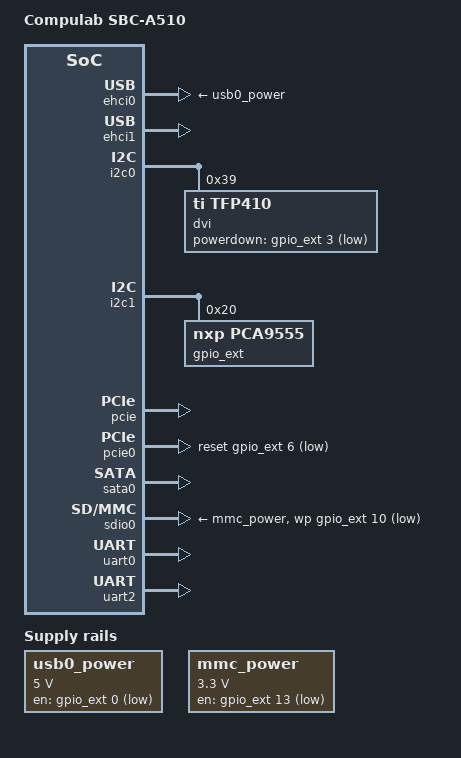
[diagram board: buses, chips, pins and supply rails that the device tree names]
/*
 * Device Tree file for Compulab SBC-A510 Single Board Computer
 *
 * Copyright (C) 2015, Sebastian Hesselbarth <sebastian.hesselbarth@gmail.com>
 *
 * This file is dual-licensed: you can use it either under the terms
 * of the GPL or the X11 license, at your option. Note that this dual
 * licensing only applies to this file, and not this project as a
 * whole.
 *
 *  a) This file is free software; you can redistribute it and/or
 *     modify it under the terms of the GNU General Public License as
 *     published by the Free Software Foundation; version 2 of the
 *     License.
 *
 *     This file is distributed in the hope that it will be useful,
 *     but WITHOUT ANY WARRANTY; without even the implied warranty of
 *     MERCHANTABILITY or FITNESS FOR A PARTICULAR PURPOSE.  See the
 *     GNU General Public License for more details.
 *
 * Or, alternatively,
 *
 *  b) Permission is hereby granted, free of charge, to any person
 *     obtaining a copy of this software and associated documentation
 *     files (the "Software"), to deal in the Software without
 *     restriction, including without limitation the rights to use,
 *     copy, modify, merge, publish, distribute, sublicense, and/or
 *     sell copies of the Software, and to permit persons to whom the
 *     Software is furnished to do so, subject to the following
 *     conditions:
 *
 *     The above copyright notice and this permission notice shall be
 *     included in all copies or substantial portions of the Software.
 *
 *     THE SOFTWARE IS PROVIDED "AS IS", WITHOUT WARRANTY OF ANY KIND,
 *     EXPRESS OR IMPLIED, INCLUDING BUT NOT LIMITED TO THE WARRANTIES
 *     OF MERCHANTABILITY, FITNESS FOR A PARTICULAR PURPOSE AND
 *     NONINFRINGEMENT. IN NO EVENT SHALL THE AUTHORS OR COPYRIGHT
 *     HOLDERS BE LIABLE FOR ANY CLAIM, DAMAGES OR OTHER LIABILITY,
 *     WHETHER IN AN ACTION OF CONTRACT, TORT OR OTHERWISE, ARISING
 *     FROM, OUT OF OR IN CONNECTION WITH THE SOFTWARE OR THE USE OR
 *     OTHER DEALINGS IN THE SOFTWARE.
 */

/*
 * SBC-A510 comprises a PCA9555 I2C GPIO expander its GPIO lines connected to
 *
 * 0.0 USB0 VBUS_EN (active high)
 * 0.1 USB0 VBUS_GOOD
 * 0.2 DVI transmitter TI TFP410 MSEN
 * 0.3 DVI transmitter TI TFP410 PD# (active low power down)
 * 0.4 LVDS transmitter DS90C365 PD# (active low power down)
 * 0.5 LCD nRST (active low reset)
 * 0.6 PCIe0 nRST (active low reset)
 * 0.7 mini-PCIe slot W_DISABLE#
 *
 * 1.0 MMC WP
 * 1.1 Camera Input FPC FLASH_STB and P21.5
 * 1.2 Camera Input FPC WE        and P21.22
 * 1.3 MMC VCC_EN (active high)   and P21.7
 * 1.4 Camera Input FPC AFTR_RST  and P21.17
 * 1.5 Camera Input FPC OE        and P21.19
 * 1.6 Camera Input FPC SNPSHT    and P21.6
 * 1.7 Camera Input FPC SHTR      and P21.10
 */

/dts-v1/;

#include "dove-cm-a510.dtsi"

/ {
	model = "Compulab SBC-A510";
	compatible = "compulab,sbc-a510", "compulab,cm-a510", "marvell,dove";

	chosen {
		stdout-path = &uart0;
	};

	usb0_power: regulator-2 {
		compatible = "regulator-fixed";
		regulator-name = "USB Power";
		regulator-min-microvolt = <5000000>;
		regulator-max-microvolt = <5000000>;
		gpio = <&gpio_ext 0 GPIO_ACTIVE_HIGH>;
	};

	mmc_power: regulator-3 {
		compatible = "regulator-fixed";
		regulator-name = "MMC Power";
		regulator-min-microvolt = <3300000>;
		regulator-max-microvolt = <3300000>;
		gpio = <&gpio_ext 13 GPIO_ACTIVE_HIGH>;
	};
};

/* Ethernet0 depends on CM-A510 option E1 */
&mdio { status = "disabled"; };
&eth { status = "disabled"; };
&ethphy { status = "disabled"; };

/*
 * USB port 0 can be powered and monitored by I2C GPIO expander:
 *  VBUS_ENABLE on GPIO0, VBUS_GOOD on GPIO1
 */
&ehci0 {
	status = "okay";
	vbus-supply = <&usb0_power>;
};

/* USB port 1 (and ports 2, 3 if CM-A510 has U4 option) */
&ehci1 { status = "okay"; };

/*
 * I2C bus layout:
 * i2c0:
 *  - Audio Codec, 0x1a (option from CM-A510)
 *  - DVI transmitter TI TFP410, 0x39
 *  - HDMI/DVI DDC channel
 * i2c1:
 *  - GPIO expander, NXP PCA9555, 0x20
 *  - VGA DDC channel
 */
&i2c {
	pinctrl-0 = <&pmx_i2c1>;
	pinctrl-names = "default";
};

&i2c0 {
	/* TI TFP410 DVI transmitter */
	dvi: video@39 {
		compatible = "ti,tfp410";
		reg = <0x39>;
		powerdown-gpio = <&gpio_ext 3 GPIO_ACTIVE_LOW>;
	};
};

&i2c1 {
	status = "okay";

	/* NXP PCA9555 GPIO expander */
	gpio_ext: gpio@20 {
		compatible = "nxp,pca9555";
		reg = <0x20>;
		gpio-controller;
		#gpio-cells = <2>;
	};
};

&pcie { status = "okay"; };

/*
 * PCIe0 can be configured by Jumper E1 to be either connected to
 * a mini-PCIe slot or a Pericom PI7C9X111 PCIe-to-PCI bridge.
 */
&pcie0 {
	status = "okay";
	pinctrl-0 = <&pmx_pcie0_clkreq>;
	pinctrl-names = "default";
	reset-gpios = <&gpio_ext 6 GPIO_ACTIVE_LOW>;
};

/* Ethernet1 depends on CM-A510 option E2 */
&pcie1 { status = "disabled"; };

/* SATA connector */
&sata0 { status = "okay"; };

/*
 * SDIO0 is connected to a MMC/SD/SDIO socket, I2C GPIO expander has
 *  VCC_MMC_ENABLE on GPIO13, MMC_WP on GPIO10
 */
&sdio0 {
	vmmc-supply = <&mmc_power>;
	wp-gpios = <&gpio_ext 10 GPIO_ACTIVE_LOW>;
	status = "okay";
};

/* UART0 on RS232 mini-connector */
&uart0 { status = "okay"; };
/* UART2 on pin headers */
&uart2 { status = "okay"; };
